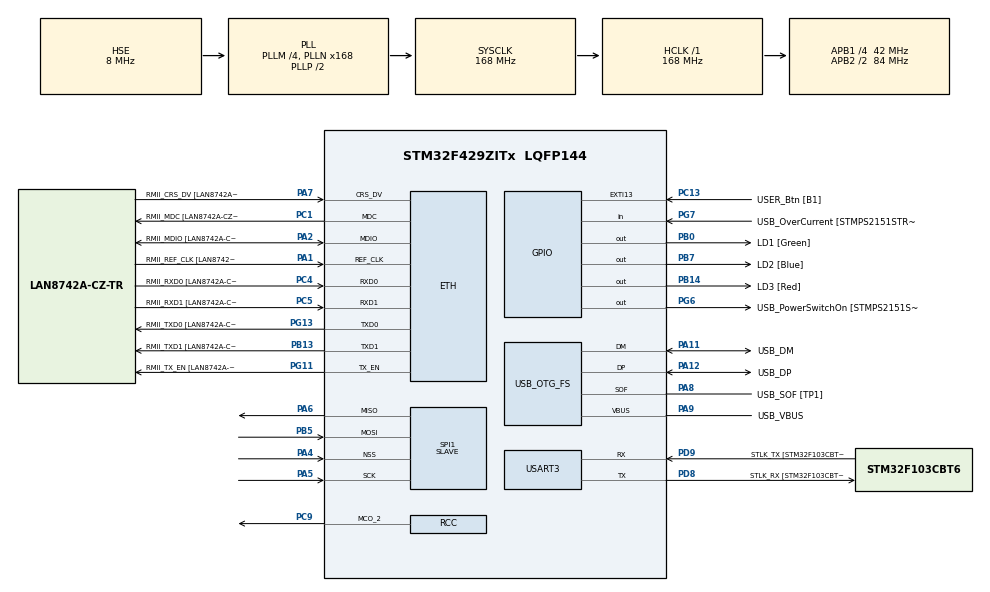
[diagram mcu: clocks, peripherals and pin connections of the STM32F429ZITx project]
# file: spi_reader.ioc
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ARM.CMSIS.5.6.0.CMSISJjRTOS2JjKeilOoRTX5=Source
ARM.CMSIS.5.6.0.CMSISOoDriverJjEthernetOoMACJjCustom=true
ARM.CMSIS.5.6.0.CMSISOoDriverJjEthernetOoPHYJjCustom=true
ETH.MACAddr=DA\:BA\:DA\:BA\:FE\:E9
ETH.MediaInterface=ETH_MEDIA_INTERFACE_RMII
ETH.PHY_Name=LAN8742A_PHY_ADDRESS
ETH.PHY_Name_RMII=LAN8742A_PHY_ADDRESS
ETH.PHY_Value=0
ETH.PhyAddress=1
FREERTOS.Queues01=myQueue01,64,uint16_t,0,Dynamic,NULL,NULL
FREERTOS.Tasks01=defaultTask,24,2048,StartDefaultTask,Default,NULL,Dynamic,NULL,NULL;myTask02Handle,8,1024,IP_Adress_LED,Default,NULL,Dynamic,NULL,NULL
LWIP.CMSIS_VERSION-Enabled=1
LWIP.LWIP_DHCP=1
LWIP.Version=v2.1.2_Cube
Mcu.Family=STM32F4
Mcu.Name=STM32F429ZITx
Mcu.Package=LQFP144
NVIC.ETH_IRQn=true\:5\:0\:true\:false\:true\:true\:true\:true
NVIC.ETH_WKUP_IRQn=true\:5\:0\:false\:false\:true\:true\:true\:true
NVIC.EXTI15_10_IRQn=true\:5\:0\:true\:false\:true\:true\:true\:true
NVIC.PriorityGroup=NVIC_PRIORITYGROUP_4
NVIC.SPI1_IRQn=true\:5\:0\:true\:false\:true\:true\:true\:true
NVIC.TIM6_DAC_IRQn=true\:0\:0\:false\:false\:true\:false\:false\:true
NVIC.TimeBase=TIM6_DAC_IRQn
NVIC.TimeBaseIP=TIM6
PA1.GPIO_Label=RMII_REF_CLK [LAN8742A-CZ-TR_REFCLK0]
PA1.Mode=RMII
PA1.Signal=ETH_REF_CLK
PA10.GPIO_Label=USB_ID
PA10.Signal=USB_OTG_FS_ID
PA11.GPIO_Label=USB_DM
PA11.Mode=Device_Only
PA11.Signal=USB_OTG_FS_DM
PA12.GPIO_Label=USB_DP
PA12.Mode=Device_Only
PA12.Signal=USB_OTG_FS_DP
PA13.GPIO_Label=TMS
PA13.Mode=Serial_Wire
PA13.Signal=SYS_JTMS-SWDIO
PA14.GPIO_Label=TCK
PA14.Mode=Serial_Wire
PA14.Signal=SYS_JTCK-SWCLK
PA2.GPIO_Label=RMII_MDIO [LAN8742A-CZ-TR_MDIO]
PA2.Mode=RMII
PA2.Signal=ETH_MDIO
PA4.Mode=NSS_Signal_Hard_Input
PA4.Signal=SPI1_NSS
PA5.Mode=Full_Duplex_Slave
PA5.Signal=SPI1_SCK
PA6.Mode=Full_Duplex_Slave
PA6.Signal=SPI1_MISO
PA7.GPIO_Label=RMII_CRS_DV [LAN8742A-CZ-TR_CRS_DV]
PA7.Mode=RMII
PA7.Signal=ETH_CRS_DV
PA8.GPIO_Label=USB_SOF [TP1]
PA8.Mode=Activate_SOF_FS
PA8.Signal=USB_OTG_FS_SOF
PA9.GPIO_Label=USB_VBUS
PA9.Mode=Activate_VBUS
PA9.Signal=USB_OTG_FS_VBUS
PB0.GPIO_Label=LD1 [Green]
PB0.Signal=GPIO_Output
PB13.GPIO_Label=RMII_TXD1 [LAN8742A-CZ-TR_TXD1]
PB13.Mode=RMII
PB13.Signal=ETH_TXD1
PB14.GPIO_Label=LD3 [Red]
PB14.Signal=GPIO_Output
PB5.Mode=Full_Duplex_Slave
PB5.Signal=SPI1_MOSI
PB7.GPIO_Label=LD2 [Blue]
PB7.Signal=GPIO_Output
PC1.GPIO_Label=RMII_MDC [LAN8742A-CZ-TR_MDC]
PC1.Mode=RMII
PC1.Signal=ETH_MDC
PC13.GPIO_Label=USER_Btn [B1]
PC13.Signal=GPXTI13
PC14/OSC32_IN.Mode=LSE-External-Oscillator
PC14/OSC32_IN.Signal=RCC_OSC32_IN
PC15/OSC32_OUT.Mode=LSE-External-Oscillator
PC15/OSC32_OUT.Signal=RCC_OSC32_OUT
PC4.GPIO_Label=RMII_RXD0 [LAN8742A-CZ-TR_RXD0]
PC4.Mode=RMII
PC4.Signal=ETH_RXD0
PC5.GPIO_Label=RMII_RXD1 [LAN8742A-CZ-TR_RXD1]
PC5.Mode=RMII
PC5.Signal=ETH_RXD1
PC9.Mode=Clock-out-2
PC9.Signal=RCC_MCO_2
PD8.GPIO_Label=STLK_RX [STM32F103CBT6_PA3]
PD8.Mode=Asynchronous
PD8.Signal=USART3_TX
PD9.GPIO_Label=STLK_TX [STM32F103CBT6_PA2]
PD9.Mode=Asynchronous
PD9.Signal=USART3_RX
PG11.GPIO_Label=RMII_TX_EN [LAN8742A-CZ-TR_TXEN]
PG11.Mode=RMII
PG11.Signal=ETH_TX_EN
PG13.GPIO_Label=RMII_TXD0 [LAN8742A-CZ-TR_TXD0]
PG13.Mode=RMII
PG13.Signal=ETH_TXD0
PG6.GPIO_Label=USB_PowerSwitchOn [STMPS2151STR_EN]
PG6.Signal=GPIO_Output
PG7.GPIO_Label=USB_OverCurrent [STMPS2151STR_FAULT]
PG7.Signal=GPIO_Input
PH0/OSC_IN.GPIO_Label=MCO [STM32F103CBT6_PA8]
PH0/OSC_IN.Mode=HSE-External-Clock-Source
PH0/OSC_IN.Signal=RCC_OSC_IN
PH1/OSC_OUT.Mode=HSE-External-Clock-Source
PH1/OSC_OUT.Signal=RCC_OSC_OUT
ProjectManager.HeapSize=0x200
ProjectManager.StackSize=0x400
ProjectManager.TargetToolchain=STM32CubeIDE
RCC.48MHZClocksFreq_Value=48000000
RCC.AHBFreq_Value=168000000
RCC.APB1CLKDivider=RCC_HCLK_DIV4
RCC.APB1Freq_Value=42000000
RCC.APB1TimFreq_Value=84000000
RCC.APB2CLKDivider=RCC_HCLK_DIV2
RCC.APB2Freq_Value=84000000
RCC.APB2TimCLKDivider=2
RCC.APB2TimFreq_Value=168000000
RCC.CortexFreq_Value=168000000
RCC.HCLKFreq_Value=168000000
RCC.HSE_VALUE=8000000
RCC.HSI_VALUE=16000000
RCC.PLLM=4
RCC.PLLMUL=RCC_PLL_MUL9
RCC.PLLN=168
RCC.PLLQ=7
RCC.PRESCALERUSB=RCC_USBCLKSOURCE_PLL_DIV1_5
RCC.RCC_MCODiv2=RCC_MCODIV_2
RCC.SYSCLKFreq_VALUE=168000000
RCC.SYSCLKSource=RCC_SYSCLKSOURCE_PLLCLK
RCC.SYSCLKSourceVirtual=RCC_SYSCLKSOURCE_PLLCLK
RCC.USBFreq_Value=48000000
RCC.VCOOutputFreq_Value=336000000
SPI1.CLKPolarity=SPI_POLARITY_LOW
SPI1.Direction=SPI_DIRECTION_2LINES
SPI1.FirstBit=SPI_FIRSTBIT_MSB
SPI1.Mode=SPI_MODE_SLAVE
SPI1.VirtualNSS=VM_NSSHARD
SPI1.VirtualType=VM_SLAVE
USART3.VirtualMode=VM_ASYNC
USB_OTG_FS.VirtualMode=Device_Only
VP_FREERTOS_VS_CMSIS_V2.Mode=CMSIS_V2
VP_LWIP_VS_Enabled.Mode=Enabled
VP_SYS_VS_tim6.Mode=TIM6
board=NUCLEO-F429ZI

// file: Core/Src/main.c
/* USER CODE BEGIN Header */
/**
 ******************************************************************************
 * @file           : main.c
 * @brief          : Main program body
 ******************************************************************************
 * @attention
 *
 * <h2><center>&copy; Copyright (c) 2020 STMicroelectronics.
 * All rights reserved.</center></h2>
 *
 * This software component is licensed by ST under BSD 3-Clause license,
 * the "License"; You may not use this file except in compliance with the
 * License. You may obtain a copy of the License at:
 *                        opensource.org/licenses/BSD-3-Clause
 *
 ******************************************************************************
 */
/* USER CODE END Header */
#include "main.h"
#include "cmsis_os.h"
#include "lwip.h"

/* USER CODE BEGIN Includes */
#include "lwip/sockets.h"
#include <stdio.h>
#include <string.h>
/* USER CODE END Includes */

/* USER CODE BEGIN PTD */
extern struct netif gnetif;
/* USER CODE END PTD */

/* USER CODE BEGIN PD */
#define PBFRAMESIZE 640
#define BBFRAMESIZE 64
#define PORT 17003
/* USER CODE END PD */

SPI_HandleTypeDef hspi1;

UART_HandleTypeDef huart3;

PCD_HandleTypeDef hpcd_USB_OTG_FS;

/* Definitions for defaultTask */
osThreadId_t defaultTaskHandle;
const osThreadAttr_t defaultTask_attributes = {
    .name = "defaultTask",
    .priority = (osPriority_t)osPriorityNormal,
    .stack_size = 2048 * 4};
/* Definitions for myTask02Handle */
osThreadId_t myTask02HandleHandle;
const osThreadAttr_t myTask02Handle_attributes = {
    .name = "myTask02Handle",
    .priority = (osPriority_t)osPriorityLow,
    .stack_size = 1024 * 4};
/* Definitions for myQueue01 */
osMessageQueueId_t myQueue01Handle;
const osMessageQueueAttr_t myQueue01_attributes = {.name = "myQueue01"};
/* USER CODE BEGIN PV */
int server_fd;
int new_socket = -1;
/* USER CODE END PV */

void SystemClock_Config(void);
static void MX_GPIO_Init(void);
static void MX_USART3_UART_Init(void);
static void MX_USB_OTG_FS_PCD_Init(void);
static void MX_SPI1_Init(void);
void StartDefaultTask(void *argument);
void IP_Adress_LED(void *argument);

int main(void) {

  /* MCU Configuration--------------------------------------------------------*/

  /* Reset of all peripherals, Initializes the Flash interface and the Systick.
   */
  HAL_Init();

  /* Configure the system clock */
  SystemClock_Config();

  /* Initialize all configured peripherals */
  MX_GPIO_Init();
  MX_USART3_UART_Init();
  MX_USB_OTG_FS_PCD_Init();
  MX_SPI1_Init();
  /* USER CODE BEGIN 2 */
  printf("Welcome to the SPI Reader\n");
  // char *msg = "\nWelcome to the SPI Reader\n\r";
  // HAL_UART_Transmit(&huart3, (uint8_t*)msg, strlen(msg), 0xFFFF);

  /* USER CODE END 2 */

  /* Init scheduler */
  osKernelInitialize();

  /* Create the queue(s) */
  /* creation of myQueue01 */
  myQueue01Handle =
      osMessageQueueNew(64, sizeof(uint16_t), &myQueue01_attributes);

  /* Create the thread(s) */
  /* creation of defaultTask */
  defaultTaskHandle =
      osThreadNew(StartDefaultTask, NULL, &defaultTask_attributes);

  /* creation of myTask02Handle */
  myTask02HandleHandle =
      osThreadNew(IP_Adress_LED, NULL, &myTask02Handle_attributes);

  /* Start scheduler */
  osKernelStart();

  /* We should never get here as control is now taken by the scheduler */
  /* Infinite loop */
  /* USER CODE BEGIN WHILE */

  while (1) {

    //  if (HAL_SPI_Receive(&hspi1,(uint8_t*)data, 10, 0xFFFF)== HAL_OK)
    //  	  HAL_UART_Transmit(&huart3, (uint8_t*)data, 10, 0xFFFF);

    /* USER CODE END WHILE */

  }
}

void SystemClock_Config(void) {
  RCC_OscInitTypeDef RCC_OscInitStruct = {0};
  RCC_ClkInitTypeDef RCC_ClkInitStruct = {0};

  /** Configure the main internal regulator output voltage
   */
  __HAL_RCC_PWR_CLK_ENABLE();
  __HAL_PWR_VOLTAGESCALING_CONFIG(PWR_REGULATOR_VOLTAGE_SCALE1);
  /** Initializes the RCC Oscillators according to the specified parameters
   * in the RCC_OscInitTypeDef structure.
   */
  RCC_OscInitStruct.OscillatorType = RCC_OSCILLATORTYPE_HSE;
  RCC_OscInitStruct.HSEState = RCC_HSE_BYPASS;
  RCC_OscInitStruct.PLL.PLLState = RCC_PLL_ON;
  RCC_OscInitStruct.PLL.PLLSource = RCC_PLLSOURCE_HSE;
  RCC_OscInitStruct.PLL.PLLM = 4;
  RCC_OscInitStruct.PLL.PLLN = 168;
  RCC_OscInitStruct.PLL.PLLP = RCC_PLLP_DIV2;
  RCC_OscInitStruct.PLL.PLLQ = 7;
  if (HAL_RCC_OscConfig(&RCC_OscInitStruct) != HAL_OK) {
    Error_Handler();
  }
  /** Initializes the CPU, AHB and APB buses clocks
   */
  RCC_ClkInitStruct.ClockType = RCC_CLOCKTYPE_HCLK | RCC_CLOCKTYPE_SYSCLK |
                                RCC_CLOCKTYPE_PCLK1 | RCC_CLOCKTYPE_PCLK2;
  RCC_ClkInitStruct.SYSCLKSource = RCC_SYSCLKSOURCE_PLLCLK;
  RCC_ClkInitStruct.AHBCLKDivider = RCC_SYSCLK_DIV1;
  RCC_ClkInitStruct.APB1CLKDivider = RCC_HCLK_DIV4;
  RCC_ClkInitStruct.APB2CLKDivider = RCC_HCLK_DIV2;

  if (HAL_RCC_ClockConfig(&RCC_ClkInitStruct, FLASH_LATENCY_5) != HAL_OK) {
    Error_Handler();
  }
  HAL_RCC_MCOConfig(RCC_MCO2, RCC_MCO2SOURCE_SYSCLK, RCC_MCODIV_2);
}

static void MX_SPI1_Init(void) {

  /* SPI1 parameter configuration*/
  hspi1.Instance = SPI1;
  hspi1.Init.Mode = SPI_MODE_SLAVE;
  hspi1.Init.Direction = SPI_DIRECTION_2LINES;
  hspi1.Init.DataSize = SPI_DATASIZE_8BIT;
  hspi1.Init.CLKPolarity = SPI_POLARITY_LOW;
  hspi1.Init.CLKPhase = SPI_PHASE_1EDGE;
  hspi1.Init.NSS = SPI_NSS_HARD_INPUT;
  hspi1.Init.FirstBit = SPI_FIRSTBIT_MSB;
  hspi1.Init.TIMode = SPI_TIMODE_DISABLE;
  hspi1.Init.CRCCalculation = SPI_CRCCALCULATION_DISABLE;
  hspi1.Init.CRCPolynomial = 10;
  if (HAL_SPI_Init(&hspi1) != HAL_OK) {
    Error_Handler();
  }
}

static void MX_USART3_UART_Init(void) {

  huart3.Instance = USART3;
  huart3.Init.BaudRate = 115200;
  huart3.Init.WordLength = UART_WORDLENGTH_8B;
  huart3.Init.StopBits = UART_STOPBITS_1;
  huart3.Init.Parity = UART_PARITY_NONE;
  huart3.Init.Mode = UART_MODE_TX_RX;
  huart3.Init.HwFlowCtl = UART_HWCONTROL_NONE;
  huart3.Init.OverSampling = UART_OVERSAMPLING_16;
  if (HAL_UART_Init(&huart3) != HAL_OK) {
    Error_Handler();
  }
}

static void MX_USB_OTG_FS_PCD_Init(void) {

  hpcd_USB_OTG_FS.Instance = USB_OTG_FS;
  hpcd_USB_OTG_FS.Init.dev_endpoints = 4;
  hpcd_USB_OTG_FS.Init.speed = PCD_SPEED_FULL;
  hpcd_USB_OTG_FS.Init.dma_enable = DISABLE;
  hpcd_USB_OTG_FS.Init.phy_itface = PCD_PHY_EMBEDDED;
  hpcd_USB_OTG_FS.Init.Sof_enable = ENABLE;
  hpcd_USB_OTG_FS.Init.low_power_enable = DISABLE;
  hpcd_USB_OTG_FS.Init.lpm_enable = DISABLE;
  hpcd_USB_OTG_FS.Init.vbus_sensing_enable = ENABLE;
  hpcd_USB_OTG_FS.Init.use_dedicated_ep1 = DISABLE;
  if (HAL_PCD_Init(&hpcd_USB_OTG_FS) != HAL_OK) {
    Error_Handler();
  }
}

static void MX_GPIO_Init(void) {
  GPIO_InitTypeDef GPIO_InitStruct = {0};

  /* GPIO Ports Clock Enable */
  __HAL_RCC_GPIOC_CLK_ENABLE();
  __HAL_RCC_GPIOH_CLK_ENABLE();
  __HAL_RCC_GPIOA_CLK_ENABLE();
  __HAL_RCC_GPIOB_CLK_ENABLE();
  __HAL_RCC_GPIOD_CLK_ENABLE();
  __HAL_RCC_GPIOG_CLK_ENABLE();

  /*Configure GPIO pin Output Level */
  HAL_GPIO_WritePin(GPIOB, LD1_Pin | LD3_Pin | LD2_Pin, GPIO_PIN_RESET);

  /*Configure GPIO pin Output Level */
  HAL_GPIO_WritePin(USB_PowerSwitchOn_GPIO_Port, USB_PowerSwitchOn_Pin,
                    GPIO_PIN_RESET);

  /*Configure GPIO pin : USER_Btn_Pin */
  GPIO_InitStruct.Pin = USER_Btn_Pin;
  GPIO_InitStruct.Mode = GPIO_MODE_IT_RISING;
  GPIO_InitStruct.Pull = GPIO_NOPULL;
  HAL_GPIO_Init(USER_Btn_GPIO_Port, &GPIO_InitStruct);

  /*Configure GPIO pins : LD1_Pin LD3_Pin LD2_Pin */
  GPIO_InitStruct.Pin = LD1_Pin | LD3_Pin | LD2_Pin;
  GPIO_InitStruct.Mode = GPIO_MODE_OUTPUT_PP;
  GPIO_InitStruct.Pull = GPIO_NOPULL;
  GPIO_InitStruct.Speed = GPIO_SPEED_FREQ_LOW;
  HAL_GPIO_Init(GPIOB, &GPIO_InitStruct);

  /*Configure GPIO pin : USB_PowerSwitchOn_Pin */
  GPIO_InitStruct.Pin = USB_PowerSwitchOn_Pin;
  GPIO_InitStruct.Mode = GPIO_MODE_OUTPUT_PP;
  GPIO_InitStruct.Pull = GPIO_NOPULL;
  GPIO_InitStruct.Speed = GPIO_SPEED_FREQ_LOW;
  HAL_GPIO_Init(USB_PowerSwitchOn_GPIO_Port, &GPIO_InitStruct);

  /*Configure GPIO pin : USB_OverCurrent_Pin */
  GPIO_InitStruct.Pin = USB_OverCurrent_Pin;
  GPIO_InitStruct.Mode = GPIO_MODE_INPUT;
  GPIO_InitStruct.Pull = GPIO_NOPULL;
  HAL_GPIO_Init(USB_OverCurrent_GPIO_Port, &GPIO_InitStruct);

  /*Configure GPIO pin : PC9 */
  GPIO_InitStruct.Pin = GPIO_PIN_9;
  GPIO_InitStruct.Mode = GPIO_MODE_AF_PP;
  GPIO_InitStruct.Pull = GPIO_NOPULL;
  GPIO_InitStruct.Speed = GPIO_SPEED_FREQ_LOW;
  GPIO_InitStruct.Alternate = GPIO_AF0_MCO;
  HAL_GPIO_Init(GPIOC, &GPIO_InitStruct);

  /* EXTI interrupt init*/
  HAL_NVIC_SetPriority(EXTI15_10_IRQn, 5, 0);
  HAL_NVIC_EnableIRQ(EXTI15_10_IRQn);
}

void StartDefaultTask(void *argument) {
  /* init code for LWIP */
  MX_LWIP_Init();
  /* USER CODE BEGIN 5 */
  int local_IP;
  do {

    local_IP = gnetif.ip_addr.addr;
    HAL_Delay(100);
  } while (local_IP == 0);
  printf("IP %d.%d.%d.%d\n", (local_IP & 0xff), ((local_IP >> 8) & 0xff),
         ((local_IP >> 16) & 0xff), (local_IP >> 24));

  struct sockaddr_in address;
  int opt = 1;
  int addrlen = sizeof(address);
  uint8_t data[10];

  // Creating socket file descriptor
  server_fd = socket(AF_INET, SOCK_STREAM, 0);

  // Forcefully attaching socket to the port 8080
  setsockopt(server_fd, SOL_SOCKET, SO_REUSEADDR | SO_REUSEPORT, &opt,
             sizeof(opt));
  address.sin_family = AF_INET;
  address.sin_addr.s_addr = htonl(INADDR_ANY);
  address.sin_port = htons(PORT);
  bind(server_fd, (struct sockaddr *)&address, sizeof(address));
  listen(server_fd, 3);
  new_socket =
      accept(server_fd, (struct sockaddr *)&address, (__socklen_t *)&addrlen);
  /* Infinite loop */
  for (;;) {
    // Forcefully attaching socket to the port 8080

    if (HAL_SPI_Receive(&hspi1, (uint8_t *)data, 10, 0xFFFF) == HAL_OK) {
      send(new_socket, data, 10, 0);
      printf("Message sent\n");
    }
  }
  /* USER CODE END 5 */
}

void IP_Adress_LED(void *argument) {
  /* USER CODE BEGIN IP_Adress_LED */
  /* Infinite loop */
  do {
    HAL_Delay(100);
  } while (gnetif.ip_addr.addr == 0);

  uint8_t last_word = gnetif.ip_addr.addr >> 24;
  uint8_t third_digit = last_word % 10;
  last_word /= 10;
  uint8_t second_digit = last_word % 10;
  last_word /= 10;
  uint8_t first_digit = last_word % 10;
  while (new_socket == -1) {

    for (int i = 0; i < first_digit; i++) {
      HAL_GPIO_TogglePin(LD3_GPIO_Port, LD3_Pin);
      HAL_Delay(500);
      HAL_GPIO_TogglePin(LD3_GPIO_Port, LD3_Pin);
      HAL_Delay(500);
    }
    for (int i = 0; i < second_digit; i++) {
      HAL_GPIO_TogglePin(LD2_GPIO_Port, LD2_Pin);
      HAL_Delay(500);
      HAL_GPIO_TogglePin(LD2_GPIO_Port, LD2_Pin);
      HAL_Delay(500);
    }
    for (int i = 0; i < third_digit; i++) {
      HAL_GPIO_TogglePin(LD1_GPIO_Port, LD1_Pin);
      HAL_Delay(500);
      HAL_GPIO_TogglePin(LD1_GPIO_Port, LD1_Pin);
      HAL_Delay(500);
    }

    /* USER CODE END IP_Adress_LED */
  }
}

void HAL_TIM_PeriodElapsedCallback(TIM_HandleTypeDef *htim) {
  if (htim->Instance == TIM6) {
    HAL_IncTick();
  }
}

void Error_Handler(void) {
  __disable_irq();
  while (1) {
  }
}

#ifdef USE_FULL_ASSERT
/**
 * @brief  Reports the name of the source file and the source line number
 *         where the assert_param error has occurred.
 * @param  file: pointer to the source file name
 * @param  line: assert_param error line source number
 * @retval None
 */
void assert_failed(uint8_t *file, uint32_t line) {
  /* USER CODE BEGIN 6 */
  /* User can add his own implementation to report the file name and line
   number, ex: printf("Wrong parameters value: file %s on line %d\r\n", file,
   line) */
  /* USER CODE END 6 */
}
#endif /* USE_FULL_ASSERT */

/************************ (C) COPYRIGHT STMicroelectronics *****END OF FILE****/
